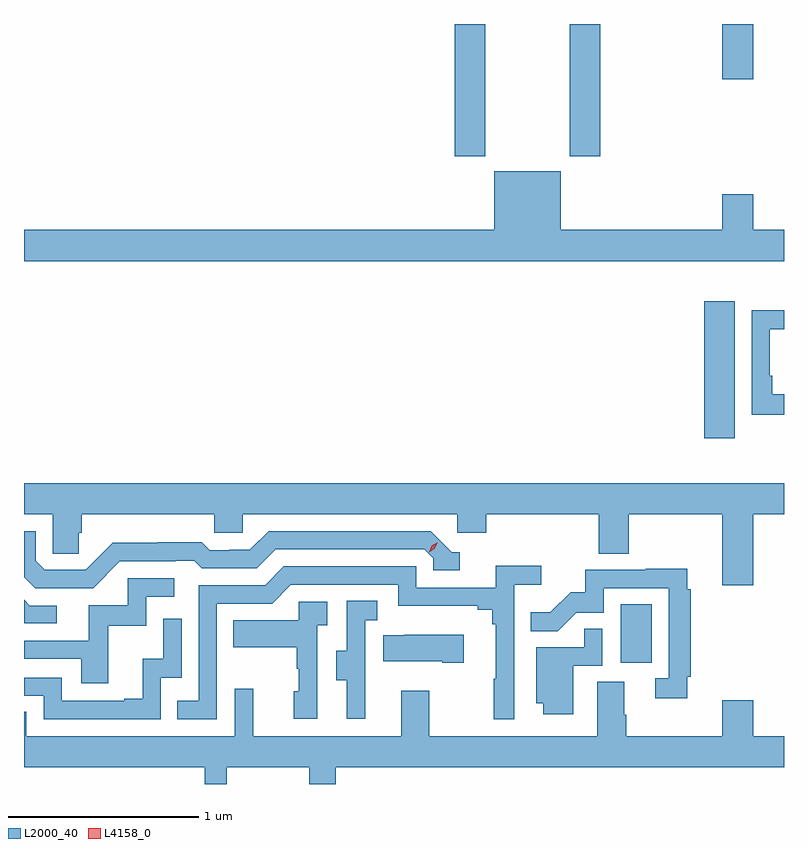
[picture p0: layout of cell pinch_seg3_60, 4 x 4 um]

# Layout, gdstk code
import gdstk
lib = gdstk.Library(unit=1e-6, precision=1e-09)
def R(c, l, rs):  # rectangles x0, y0, x1, y1
    for r in rs: c.add(gdstk.rectangle(r[:2], r[2:], *l))
def P(c, l, *ps):  # polygons
    for p in ps: c.add(gdstk.Polygon(p, *l))
L2000_40 = (2000, 40)
L4158_0 = (4158, 0)

pinch_seg3_60 = lib.new_cell('pinch_seg3_60')
R(pinch_seg3_60, L2000_40, [(1063.574,737.43,1063.738,737.737), (1064.012,738.612,1064.173,739.333), (1062.701,740.097,1062.861,740.792), (1063.306,740.097,1063.466,740.792), (1064.108,740.502,1064.272,740.792)])
P(pinch_seg3_60, L2000_40, [(1064.433,739.708),(1064.272,739.708),(1064.272,739.897),(1064.108,739.897),(1064.108,739.708),(1063.258,739.708),(1063.258,740.017),(1062.908,740.017),(1062.908,739.708),(1060.433,739.708),(1060.433,739.544),(1064.433,739.544)],
  [(1064.433,738.844),(1064.372,738.844),(1064.372,738.94),(1064.358,738.94),(1064.358,739.185),(1064.433,739.185),(1064.433,739.286),(1064.262,739.286),(1064.262,738.735),(1064.433,738.735)],
  [(1064.272,738.212),(1064.433,738.212),(1064.433,738.376),(1060.433,738.376),(1060.433,738.212),(1060.584,738.212),(1060.584,738.004),(1060.721,738.004),(1060.721,738.114),(1060.736,738.114),(1060.736,738.212),(1061.433,738.212),(1061.433,738.114),(1061.583,738.114),(1061.583,738.212),(1062.714,738.212),(1062.714,738.114),(1062.866,738.114),(1062.866,738.212),(1063.457,738.212),(1063.457,738.004),(1063.617,738.004),(1063.617,738.212),(1064.108,738.212),(1064.108,737.838),(1064.272,737.838)],
  [(1060.938,737.964),(1061.231,737.964),(1061.231,737.967),(1061.33,737.967),(1061.369,737.928),(1061.658,737.928),(1061.757,738.027),(1062.54,738.027),(1062.588,737.979),(1062.588,737.916),(1062.727,737.916),(1062.727,738.012),(1062.684,738.012),(1062.573,738.123),(1061.72,738.123),(1061.621,738.024),(1061.514,738.024),(1061.514,738.021),(1061.411,738.021),(1061.369,738.064),(1061.136,738.064),(1061.136,738.061),(1060.9,738.061),(1060.758,737.919),(1060.542,737.919),(1060.494,737.967),(1060.494,738.123),(1060.433,738.123),(1060.433,737.881),(1060.491,737.823),(1060.797,737.823)],
  [(1061.448,737.742),(1061.739,737.742),(1061.838,737.841),(1062.402,737.841),(1062.402,737.729),(1062.821,737.729),(1062.821,737.71),(1062.898,737.71),(1062.898,737.633),(1062.917,737.633),(1062.917,737.345),(1062.906,737.345),(1062.906,737.133),(1063.014,737.133),(1063.014,737.84),(1063.156,737.84),(1063.156,737.942),(1062.917,737.942),(1062.917,737.826),(1062.498,737.826),(1062.498,737.937),(1061.801,737.937),(1061.702,737.838),(1061.352,737.838),(1061.352,737.229),(1061.239,737.229),(1061.239,737.133),(1061.448,737.133)],
  [(1063.925,737.356),(1063.943,737.356),(1063.943,737.816),(1063.925,737.816),(1063.925,737.924),(1063.705,737.924),(1063.705,737.919),(1063.387,737.919),(1063.387,737.802),(1063.31,737.802),(1063.203,737.695),(1063.099,737.695),(1063.099,737.597),(1063.243,737.597),(1063.34,737.694),(1063.485,737.694),(1063.485,737.823),(1063.827,737.823),(1063.827,737.349),(1063.755,737.349),(1063.755,737.244),(1063.925,737.244)],
  [(1060.877,737.625),(1061.076,737.625),(1061.076,737.778),(1061.224,737.778),(1061.224,737.874),(1060.98,737.874),(1060.98,737.733),(1060.775,737.733),(1060.775,737.547),(1060.433,737.547),(1060.433,737.451),(1060.733,737.451),(1060.733,737.322),(1060.877,737.322)],
  [(1060.606,737.73),(1060.464,737.73),(1060.433,737.761),(1060.433,737.637),(1060.606,737.637)],
  [(1062.23,737.349),(1062.228,737.349),(1062.228,737.653),(1062.292,737.653),(1062.292,737.756),(1062.132,737.756),(1062.132,737.493),(1062.077,737.493),(1062.077,737.338),(1062.131,737.338),(1062.131,737.136),(1062.23,737.136)],
  [(1061.976,737.627),(1062.028,737.627),(1062.028,737.751),(1061.88,737.751),(1061.88,737.653),(1061.533,737.653),(1061.533,737.513),(1061.868,737.513),(1061.868,737.399),(1061.878,737.399),(1061.878,737.28),(1061.852,737.28),(1061.852,737.136),(1061.976,737.136)],
  [(1061.154,737.352),(1061.262,737.352),(1061.262,737.662),(1061.166,737.662),(1061.166,737.45),(1061.057,737.45),(1061.057,737.242),(1060.961,737.242),(1060.961,737.229),(1060.632,737.229),(1060.632,737.352),(1060.433,737.352),(1060.433,737.256),(1060.536,737.256),(1060.536,737.133),(1061.154,737.133)],
  [(1063.324,737.415),(1063.476,737.415),(1063.476,737.609),(1063.381,737.609),(1063.381,737.511),(1063.13,737.511),(1063.13,737.216),(1063.166,737.216),(1063.166,737.16),(1063.324,737.16)],
  [(1062.748,737.578),(1062.433,737.578),(1062.433,737.575),(1062.325,737.575),(1062.325,737.438),(1062.635,737.438),(1062.635,737.431),(1062.748,737.431)],
  [(1061.499,736.88),(1061.933,736.88),(1061.933,736.792),(1062.073,736.792),(1062.073,736.88),(1064.433,736.88),(1064.433,737.044),(1064.272,737.044),(1064.272,737.233),(1064.108,737.233),(1064.108,737.044),(1063.604,737.044),(1063.604,737.156),(1063.591,737.156),(1063.591,737.33),(1063.451,737.33),(1063.451,737.044),(1062.567,737.044),(1062.567,737.284),(1062.419,737.284),(1062.419,737.044),(1061.639,737.044),(1061.639,737.293),(1061.541,737.293),(1061.541,737.044),(1060.446,737.044),(1060.446,737.171),(1060.433,737.171),(1060.433,736.88),(1061.383,736.88),(1061.383,736.792),(1061.499,736.792)])
P(pinch_seg3_60, L4158_0, [(1062.565,738.012),(1062.565,738.013),(1062.58,738.045),(1062.611,738.065),(1062.611,738.065),(1062.611,738.065),(1062.595,738.032),(1062.565,738.012)])

lib.write_gds('pinch_seg3_60.gds')
